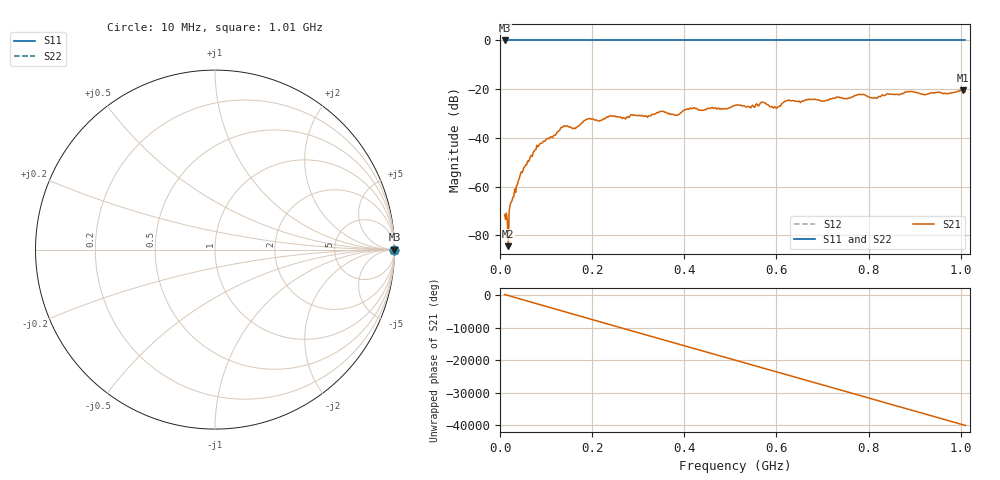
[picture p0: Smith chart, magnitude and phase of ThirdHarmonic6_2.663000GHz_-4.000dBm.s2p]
! 8/17/2025 6:08:56 AM
! C:\ANRITSUVNA\TEMP\TEMP.S2P
! CHANNEL.1
! TR.MEASUREMENT
! RAW.DATA
! RF.CORRECTION.OFF
! AVERAGING.OFF
! IF.BANDWIDTH: 5KHZ
! SWEEPTYPE:  FREQ.SWEEP(Linear)
! Reference Plane Port Info
! PORT:  PORT1  PORT2
! DISTANCE:  0  m  0  m
! TIME:  0  s  0  s
! PHASE.OFFSET:  0  deg.  0  deg.
! LOSS:  0  dB  0  dB
! REF.LOSS:  0  dB  0  dB
! REF.FREQ:  0  Hz  0  Hz
! Power Info
! POWER:  -20  dBm  -20  dBm
! EFF.POWER:  -20  dBm  -20  dBm
! SOURCE.ATTEN:  0  dB  0  dB
! TEST.ATTEN:  0  dB  0  dB
# GHZ S RI R 50.0
! FREQ.GHZ  S11RE  S11IM  S21RE  S21IM  S12RE  S12IM  S22RE  S22IM
!; PortSelection: Port_12
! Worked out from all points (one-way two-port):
!   501 points, 10 MHz to 1.01 GHz, reference 50 ohm
!   highest |S21| = -20.46 dB at 1.004 GHz (marker M1); lowest = -84.5 dB at 18 MHz (marker M2)
!   lowest |S11| = 0.0 dB at 10 MHz (marker M3)
!   |S11| at or under -10 dB: nowhere
!   |S22| runs from 0.0 to 0.0 dB; largest |S21 - S12| = 1.1
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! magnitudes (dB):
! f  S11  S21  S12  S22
! 10 MHz  0.0  -71.4  0.0  0.0
! 14 MHz  0.0  -70.9  0.0  0.0
! 18 MHz  0.0  -84.5  0.0  0.0
! 24 MHz  0.0  -66.5  0.0  0.0
! 42 MHz  0.0  -56.6  0.0  0.0
! 76 MHz  0.0  -44.9  0.0  0.0
! 136 MHz  0.0  -35.6  0.0  0.0
! 160 MHz  0.0  -36.0  0.0  0.0
! 178 MHz  0.0  -33.8  0.0  0.0
! 344 MHz  0.0  -29.6  0.0  0.0
! 384 MHz  0.0  -30.7  0.0  0.0
! 416 MHz  0.0  -28.0  0.0  0.0
! 510 MHz  0.0  -26.6  0.0  0.0
! 570 MHz  0.0  -25.3  0.0  0.0
! 598 MHz  0.0  -27.5  0.0  0.0
! 624 MHz  0.0  -24.7  0.0  0.0
! 678 MHz  0.0  -24.2  0.0  0.0
! 782 MHz  0.0  -22.2  0.0  0.0
! 814 MHz  0.0  -23.5  0.0  0.0
! 844 MHz  0.0  -22.0  0.0  0.0
! 1.004 GHz  0.0  -20.5  0.0  0.0
! 1.01 GHz  0.0  -21.0  0.0  0.0
